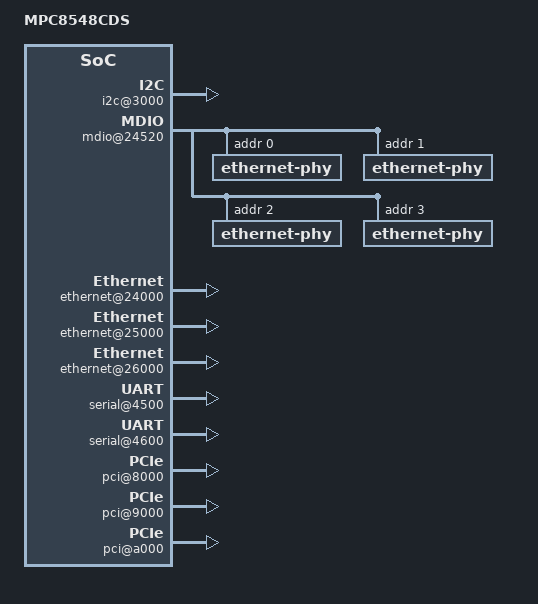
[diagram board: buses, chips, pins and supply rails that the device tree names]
/*
 * MPC8548 CDS with Arcadia 3.0 Device Tree Source
 *
 * Copyright 2006 Freescale Semiconductor Inc.
 *
 * This program is free software; you can redistribute  it and/or modify it
 * under  the terms of  the GNU General  Public License as published by the
 * Free Software Foundation;  either version 2 of the  License, or (at your
 * option) any later version.
 */


/ {
	model = "MPC8548CDS";
	compatible = "MPC85xxCDS";
	#address-cells = <1>;
	#size-cells = <1>;
	linux,phandle = <100>;

	cpus {
		#address-cells = <1>;
		#size-cells = <0>;
		linux,phandle = <200>;

		PowerPC,8548@0 {
			device_type = "cpu";
			reg = <0>;
			d-cache-line-size = <20>;	// 32 bytes
			i-cache-line-size = <20>;	// 32 bytes
			d-cache-size = <8000>;		// L1, 32K
			i-cache-size = <8000>;		// L1, 32K
			timebase-frequency = <0>;	//  33 MHz, from uboot
			bus-frequency = <0>;	// 166 MHz
			clock-frequency = <0>;	// 825 MHz, from uboot
			32-bit;
			linux,phandle = <201>;
		};
	};

	memory {
		device_type = "memory";
		linux,phandle = <300>;
		reg = <00000000 08000000>;	// 128M at 0x0
	};

	soc8548@e0000000 {
		#address-cells = <1>;
		#size-cells = <1>;
		#interrupt-cells = <2>;
		device_type = "soc";
		ranges = <0 e0000000 00100000>;
		reg = <e0000000 00100000>;	// CCSRBAR 1M
		bus-frequency = <0>;

		i2c@3000 {
			device_type = "i2c";
			compatible = "fsl-i2c";
			reg = <3000 100>;
			interrupts = <1b 2>;
			interrupt-parent = <40000>;
			dfsrr;
		};

		mdio@24520 {
			#address-cells = <1>;
			#size-cells = <0>;
			device_type = "mdio";
			compatible = "gianfar";
			reg = <24520 20>;
			linux,phandle = <24520>;
			ethernet-phy@0 {
				linux,phandle = <2452000>;
				interrupt-parent = <40000>;
				interrupts = <35 0>;
				reg = <0>;
				device_type = "ethernet-phy";
			};
			ethernet-phy@1 {
				linux,phandle = <2452001>;
				interrupt-parent = <40000>;
				interrupts = <35 0>;
				reg = <1>;
				device_type = "ethernet-phy";
			};

			ethernet-phy@2 {
				linux,phandle = <2452002>;
				interrupt-parent = <40000>;
				interrupts = <35 0>;
				reg = <2>;
				device_type = "ethernet-phy";
			};
			ethernet-phy@3 {
				linux,phandle = <2452003>;
				interrupt-parent = <40000>;
				interrupts = <35 0>;
				reg = <3>;
				device_type = "ethernet-phy";
			};
		};

		ethernet@24000 {
			#address-cells = <1>;
			#size-cells = <0>;
			device_type = "network";
			model = "eTSEC";
			compatible = "gianfar";
			reg = <24000 1000>;
			local-mac-address = [ 00 00 00 00 00 00 ];
			mac-address = [ 00 00 00 00 00 00 ];
			interrupts = <d 2 e 2 12 2>;
			interrupt-parent = <40000>;
			phy-handle = <2452000>;
		};

		ethernet@25000 {
			#address-cells = <1>;
			#size-cells = <0>;
			device_type = "network";
			model = "eTSEC";
			compatible = "gianfar";
			reg = <25000 1000>;
			local-mac-address = [ 00 00 00 00 00 00 ];
			mac-address = [ 00 00 00 00 00 00 ];
			interrupts = <13 2 14 2 18 2>;
			interrupt-parent = <40000>;
			phy-handle = <2452001>;
		};

		ethernet@26000 {
			#address-cells = <1>;
			#size-cells = <0>;
			device_type = "network";
			model = "eTSEC";
			compatible = "gianfar";
			reg = <26000 1000>;
			local-mac-address = [ 00 00 00 00 00 00 ];
			mac-address = [ 00 00 00 00 00 00 ];
			interrupts = <f 2 10 2 11 2>;
			interrupt-parent = <40000>;
			phy-handle = <2452001>;
		};

/* eTSEC 4 is currently broken
		ethernet@27000 {
			#address-cells = <1>;
			#size-cells = <0>;
			device_type = "network";
			model = "eTSEC";
			compatible = "gianfar";
			reg = <27000 1000>;
			local-mac-address = [ 00 00 00 00 00 00 ];
			mac-address = [ 00 00 00 00 00 00 ];
			interrupts = <15 2 16 2 17 2>;
			interrupt-parent = <40000>;
			phy-handle = <2452001>;
		};
 */

		serial@4500 {
			device_type = "serial";
			compatible = "ns16550";
			reg = <4500 100>;	// reg base, size
			clock-frequency = <0>;	// should we fill in in uboot?
			interrupts = <1a 2>;
			interrupt-parent = <40000>;
		};

		serial@4600 {
			device_type = "serial";
			compatible = "ns16550";
			reg = <4600 100>;	// reg base, size
			clock-frequency = <0>;	// should we fill in in uboot?
			interrupts = <1a 2>;
			interrupt-parent = <40000>;
		};

		pci@8000 {
			linux,phandle = <8000>;
			interrupt-map-mask = <1f800 0 0 7>;
			interrupt-map = <
				/* IDSEL 0x2 (PCIX Tsi310 bridge) */
				01000 0 0 1 40000 30 1
				01000 0 0 2 40000 31 1
				01000 0 0 3 40000 32 1
				01000 0 0 4 40000 33 1

				/* IDSEL 0x3 (PCIX Slot 2) */
				01800 0 0 1 40000 30 1
				01800 0 0 2 40000 31 1
				01800 0 0 3 40000 32 1
				01800 0 0 4 40000 33 1

				/* IDSEL 0x4 (PCIX Slot 3) */
				02000 0 0 1 40000 30 1
				02000 0 0 2 40000 31 1
				02000 0 0 3 40000 32 1
				02000 0 0 4 40000 33 1

				/* IDSEL 0x5 (PCIX Slot 4) */
				02800 0 0 1 40000 30 1
				02800 0 0 2 40000 31 1
				02800 0 0 3 40000 32 1
				02800 0 0 4 40000 33 1

				/* IDSEL 0x6 (PCIX Slot 5) */
				03000 0 0 1 40000 30 1
				03000 0 0 2 40000 31 1
				03000 0 0 3 40000 32 1
				03000 0 0 4 40000 33 1

				/* IDSEL 0x12 (Tsi310 bridge) */
				09000 0 0 1 40000 30 1
				09000 0 0 2 40000 31 1
				09000 0 0 3 40000 32 1
				09000 0 0 4 40000 33 1

				/* IDSEL 0x13 (Slot 2) */
				09800 0 0 1 40000 30 1
				09800 0 0 2 40000 31 1
				09800 0 0 3 40000 32 1
				09800 0 0 4 40000 33 1

				/* IDSEL 0x14 (Slot 3) */
				0a000 0 0 1 40000 30 1
				0a000 0 0 2 40000 31 1
				0a000 0 0 3 40000 32 1
				0a000 0 0 4 40000 33 1

				/* IDSEL 0x15 (Slot 4) */
				0a800 0 0 1 40000 30 1
				0a800 0 0 2 40000 31 1
				0a800 0 0 3 40000 32 1
				0a800 0 0 4 40000 33 1

				/* IDSEL 0x16 (Slot 5) */
				0b000 0 0 1 40000 30 1
				0b000 0 0 2 40000 31 1
				0b000 0 0 3 40000 32 1
				0b000 0 0 4 40000 33 1>;

			interrupt-parent = <40000>;
			interrupts = <08 2>;
			bus-range = <0 0>;
			ranges = <02000000 0 80000000 80000000 0 10000000
				  01000000 0 00000000 e2000000 0 00800000>;
			clock-frequency = <3f940aa>;
			#interrupt-cells = <1>;
			#size-cells = <2>;
			#address-cells = <3>;
			reg = <8000 1000>;
			compatible = "85xx";
			device_type = "pci";
		};

		pci@9000 {
			linux,phandle = <9000>;
			interrupt-map-mask = <f800 0 0 7>;
			interrupt-map = <

				/* IDSEL 0x15 */
				a800 0 0 1 40000 3b 1
				a800 0 0 2 40000 3b 1
				a800 0 0 3 40000 3b 1
				a800 0 0 4 40000 3b 1>;
			interrupt-parent = <40000>;
			interrupts = <09 2>;
			bus-range = <0 0>;
			ranges = <02000000 0 90000000 90000000 0 10000000
				  01000000 0 00000000 e2800000 0 00800000>;
			clock-frequency = <3f940aa>;
			#interrupt-cells = <1>;
			#size-cells = <2>;
			#address-cells = <3>;
			reg = <9000 1000>;
			compatible = "85xx";
			device_type = "pci";
		};

		/* PCI Express */
		pci@a000 {
			linux,phandle = <a000>;
			interrupt-map-mask = <f800 0 0 7>;
			interrupt-map = <

				/* IDSEL 0x0 (PEX) */
				00000 0 0 1 40000 30 2
				00000 0 0 2 40000 31 0
				00000 0 0 3 40000 32 0
				00000 0 0 4 40000 32 0>;
			interrupt-parent = <40000>;
			interrupts = <0a 2>;
			bus-range = <2 255>;
			ranges = <02000000 0 a0000000 a0000000 0 20000000
				  01000000 0 00000000 e3000000 0 01000000>;
			clock-frequency = <1fca055>;
			#interrupt-cells = <1>;
			#size-cells = <2>;
			#address-cells = <3>;
			reg = <a000 1000>;
			compatible = "85xx";
			device_type = "pci";
		};

		pic@40000 {
			linux,phandle = <40000>;
			clock-frequency = <0>;
			interrupt-controller;
			#address-cells = <0>;
			#interrupt-cells = <2>;
			reg = <40000 40000>;
			built-in;
			compatible = "chrp,open-pic";
			device_type = "open-pic";
                        big-endian;
		};
	};
};
